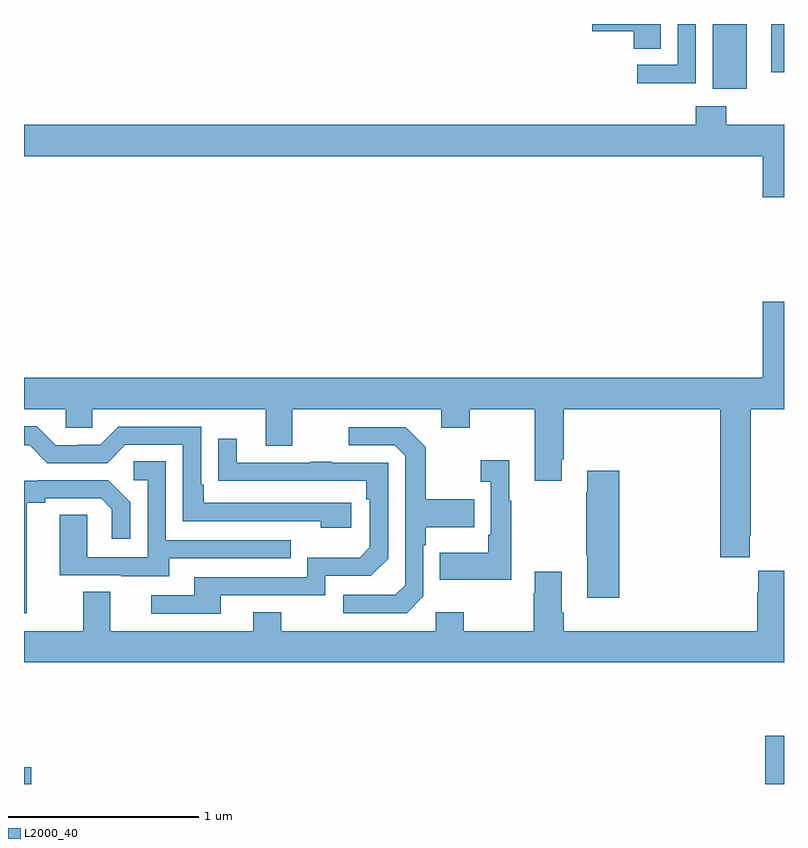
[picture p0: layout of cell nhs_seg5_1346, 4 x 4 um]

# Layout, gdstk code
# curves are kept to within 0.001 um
import gdstk
lib = gdstk.Library(unit=1e-6, precision=1e-09)
def R(c, l, rs):  # rectangles x0, y0, x1, y1
    for r in rs: c.add(gdstk.rectangle(r[:2], r[2:], *l))
def P(c, l, *ps):  # polygons
    for p in ps: c.add(gdstk.Polygon(p, *l))
L2000_40 = (2000, 40)

nhs_seg5_1346 = lib.new_cell('nhs_seg5_1346')
R(nhs_seg5_1346, L2000_40, [(193,842.799,193.039,842.888), (196.901,842.799,197,843.052), (196.625,846.458,196.804,846.799)])
P(nhs_seg5_1346, L2000_40, [(197,846.799),(196.934,846.799),(196.934,846.698),(196.932,846.698),(196.932,846.544),(197,846.544)],
  [(196.536,846.799),(196.44,846.799),(196.44,846.585),(196.227,846.585),(196.227,846.487),(196.536,846.487)],
  [(196.351,846.799),(195.99,846.799),(195.99,846.761),(196.208,846.761),(196.208,846.67),(196.351,846.67)],
  [(197,846.268),(196.695,846.268),(196.695,846.367),(196.535,846.367),(196.535,846.268),(193,846.268),(193,846.104),(196.889,846.104),(196.889,845.886),(197,845.886)],
  [(193,844.772),(193.221,844.772),(193.221,844.674),(193.359,844.674),(193.359,844.772),(194.273,844.772),(194.273,844.578),(194.413,844.578),(194.413,844.772),(195.197,844.772),(195.197,844.673),(195.345,844.673),(195.345,844.772),(195.689,844.772),(195.689,844.395),(195.829,844.395),(195.829,844.507),(195.842,844.507),(195.842,844.772),(196.664,844.772),(196.664,843.993),(196.819,843.993),(196.819,844.105),(196.824,844.105),(196.824,844.772),(197,844.772),(197,845.338),(196.889,845.338),(196.889,844.936),(193,844.936)],
  [(194.722,844.278),(193.945,844.278),(193.945,844.375),(193.932,844.375),(193.932,844.68),(193.497,844.68),(193.401,844.584),(193.283,844.584),(193.283,844.581),(193.167,844.581),(193.067,844.681),(193,844.681),(193,844.581),(193.029,844.581),(193.122,844.488),(193.437,844.488),(193.533,844.584),(193.836,844.584),(193.836,844.182),(194.561,844.182),(194.561,844.148),(194.722,844.148)],
  [(195.102,843.786),(195.102,844.055),(195.115,844.055),(195.115,844.151),(195.371,844.151),(195.371,844.299),(195.115,844.299),(195.115,844.571),(195.009,844.677),(194.709,844.677),(194.709,844.581),(194.952,844.581),(195.006,844.527),(195.006,843.846),(194.955,843.795),(194.679,843.795),(194.679,843.699),(195.015,843.699)],
  [(194.035,843.792),(194.586,843.792),(194.586,843.894),(194.826,843.894),(194.916,843.984),(194.916,844.491),(194.621,844.491),(194.621,844.496),(194.509,844.496),(194.509,844.491),(194.119,844.491),(194.119,844.615),(194.023,844.615),(194.023,844.396),(194.8,844.395),(194.8,844.298),(194.82,844.298),(194.82,844.044),(194.767,843.991),(194.49,843.991),(194.49,843.888),(193.895,843.888),(193.895,843.792),(193.671,843.792),(193.671,843.696),(194.035,843.696)],
  [(195.565,844.291),(195.553,844.291),(195.553,844.504),(195.405,844.504),(195.405,844.391),(195.456,844.391),(195.456,844.111),(195.444,844.111),(195.444,844.015),(195.187,844.015),(195.187,843.875),(195.565,843.875)],
  [(193.765,843.987),(194.405,843.987),(194.405,844.083),(193.746,844.083),(193.746,844.499),(193.578,844.499),(193.578,844.398),(193.65,844.398),(193.65,843.993),(193.332,843.993),(193.332,844.217),(193.187,844.217),(193.187,843.897),(193.511,843.897),(193.511,843.893),(193.765,843.893)],
  [(196.133,844.447),(195.965,844.447),(195.965,844.334),(195.958,844.334),(195.958,844.003),(195.965,844.003),(195.965,843.78),(196.133,843.78)],
  [(193.015,844.28),(193.111,844.28),(193.111,844.302),(193.406,844.302),(193.463,844.245),(193.463,844.089),(193.56,844.089),(193.56,844.282),(193.444,844.398),(193.072,844.398),(193.072,844.395),(193,844.395),(193,843.699),(193.015,843.699)],
  [(197,843.922),(196.865,843.922),(196.865,843.809),(196.859,843.809),(196.859,843.604),(195.842,843.604),(195.842,843.7),(195.829,843.7),(195.829,843.916),(195.689,843.916),(195.689,843.803),(195.682,843.803),(195.682,843.604),(195.315,843.604),(195.315,843.703),(195.168,843.703),(195.168,843.604),(194.355,843.604),(194.355,843.703),(194.207,843.703),(194.207,843.604),(193.453,843.604),(193.453,843.812),(193.313,843.812),(193.313,843.604),(193,843.604),(193,843.44),(197,843.44)])

lib.write_gds('nhs_seg5_1346.gds')
